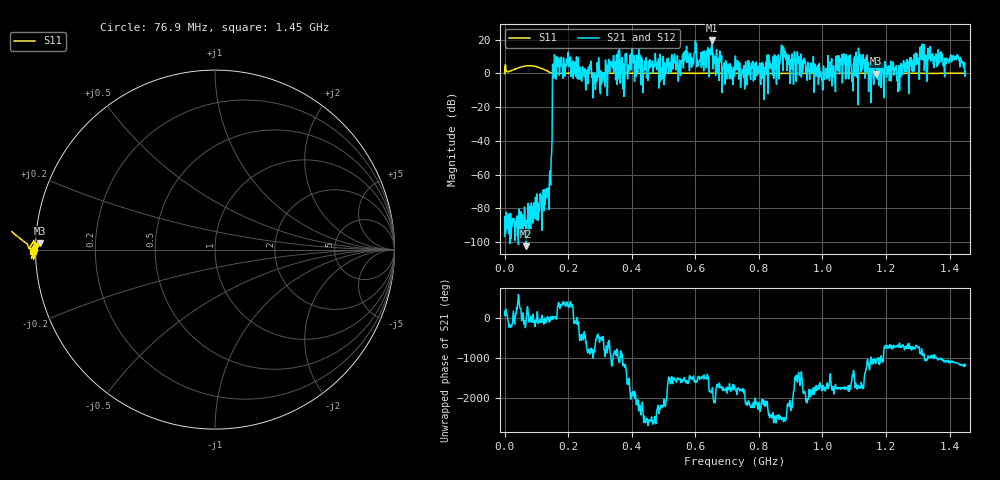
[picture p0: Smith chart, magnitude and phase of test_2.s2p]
! Created with skrf 1.11.0 (http://scikit-rf.org).
# Hz S RI R 50.0
!freq ReS11 ImS11 ReS21 ImS21 ReS12 ImS12 ReS22 ImS22
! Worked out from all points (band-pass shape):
!   1001 points, 50 kHz to 1.45 GHz, reference 50 ohm
!   highest |S21| = 19.49 dB at 652.5 MHz (marker M1); lowest = -102.4 dB at 68.2 MHz (marker M2)
!   |S21| within 3 dB of the highest: 599.7196 MHz to 600.9679 MHz (1.248 MHz wide, 0.208 % of centre); 602.8607 MHz to 603.359 MHz (498.3 kHz wide, 0.0826 % of centre) (the widest 2 of 6)
!   lowest |S11| = -0.2 dB at 1.169 GHz (marker M3), VSWR 78.78, Z = 0.635 + j0.923 ohm
!   |S11| at or under -10 dB: nowhere
!   |S22| runs from - to - dB; largest |S21 - S12| = 0
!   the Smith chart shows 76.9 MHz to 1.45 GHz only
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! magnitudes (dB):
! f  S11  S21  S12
! 50 kHz  -0.2  -96.6  -96.6
! 68.2 MHz  4.4  -102.4  -102.4
! 137.8 MHz  1.0  -67.9  -67.9
! 142.1 MHz  0.6  -57.8  -57.8
! 158.1 MHz  0.0  9.6  9.6
! 242.2 MHz  0.1  -4.6  -4.6
! 307.4 MHz  0.0  -5.0  -5.0
! 340.8 MHz  0.1  5.8  5.8
! 371.2 MHz  0.1  -1.4  -1.4
! 400.2 MHz  0.1  14.1  14.1
! 484.3 MHz  0.1  8.6  8.6
! 652.5 MHz  0.1  19.5  19.5
! 691.7 MHz  0.1  6.2  6.2
! 725 MHz  0.0  7.2  7.2
! 812 MHz  0.0  -2.9  -2.9
! 875.8 MHz  0.0  1.6  1.6
! 967.2 MHz  0.0  4.9  4.9
! 1.169 GHz  -0.2  2.5  2.5
! 1.209 GHz  0.0  4.4  4.4
! 1.243 GHz  0.1  -10.0  -10.0
! 1.314 GHz  0.1  17.2  17.2
! 1.45 GHz  0.1  1.1  1.1
